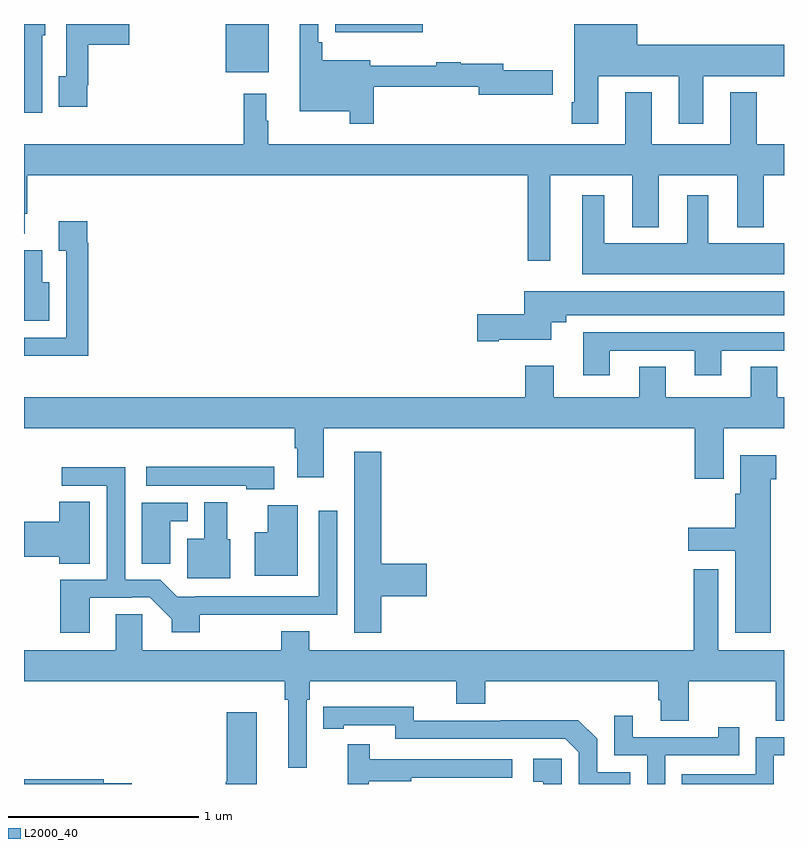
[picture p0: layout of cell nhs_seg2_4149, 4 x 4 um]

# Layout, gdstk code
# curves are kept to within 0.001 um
import gdstk
lib = gdstk.Library(unit=1e-6, precision=1e-09)
def R(c, l, rs):  # rectangles x0, y0, x1, y1
    for r in rs: c.add(gdstk.rectangle(r[:2], r[2:], *l))
def P(c, l, *ps):  # polygons
    for p in ps: c.add(gdstk.Polygon(p, *l))
L2000_40 = (2000, 40)

nhs_seg2_4149 = lib.new_cell('nhs_seg2_4149')
R(nhs_seg2_4149, L2000_40, [(336.062,613.547,336.289,613.8), (336.638,613.757,337.099,613.8)])
P(nhs_seg2_4149, L2000_40, [(335.095,613.74),(335.113,613.74),(335.113,613.8),(335,613.8),(335,613.332),(335.095,613.332)],
  [(335.332,613.477),(335.339,613.477),(335.339,613.691),(335.554,613.691),(335.554,613.8),(335.223,613.8),(335.223,613.526),(335.183,613.526),(335.183,613.365),(335.332,613.365)],
  [(338.023,613.526),(338.447,613.526),(338.447,613.275),(338.575,613.275),(338.575,613.526),(339,613.526),(339,613.69),(338.227,613.69),(338.227,613.8),(337.895,613.8),(337.895,613.387),(337.883,613.387),(337.883,613.275),(338.023,613.275)],
  [(336.842,613.47),(337.394,613.47),(337.394,613.427),(337.783,613.427),(337.783,613.557),(337.522,613.557),(337.522,613.591),(337.298,613.591),(337.298,613.598),(337.169,613.598),(337.169,613.579),(336.823,613.579),(336.823,613.609),(336.569,613.609),(336.569,613.705),(336.549,613.705),(336.549,613.8),(336.452,613.8),(336.452,613.34),(336.714,613.34),(336.714,613.275),(336.842,613.275)],
  [(338.201,612.731),(338.341,612.731),(338.341,613.004),(338.753,613.004),(338.753,612.731),(338.893,612.731),(338.893,613.004),(339,613.004),(339,613.168),(338.857,613.168),(338.857,613.441),(338.717,613.441),(338.717,613.168),(338.305,613.168),(338.305,613.441),(338.165,613.441),(338.165,613.168),(336.286,613.168),(336.286,613.292),(336.274,613.292),(336.274,613.432),(336.157,613.432),(336.157,613.168),(335,613.168),(335,612.695),(335.005,612.695),(335.005,612.802),(335.018,612.802),(335.018,613.004),(337.65,613.004),(337.65,612.555),(337.771,612.555),(337.771,613.004),(338.201,613.004)],
  [(339,612.646),(338.602,612.646),(338.602,612.898),(338.492,612.898),(338.492,612.646),(338.053,612.646),(338.053,612.898),(337.937,612.898),(337.937,612.482),(339,612.482)],
  [(335.339,612.65),(335.332,612.65),(335.332,612.763),(335.183,612.763),(335.183,612.607),(335.223,612.607),(335.223,612.15),(335,612.15),(335,612.054),(335.047,612.054),(335.047,612.053),(335.339,612.053)],
  [(335.134,612.442),(335.095,612.442),(335.095,612.61),(335,612.61),(335,612.239),(335.134,612.239)],
  [(337.498,612.137),(337.774,612.137),(337.774,612.23),(337.855,612.23),(337.855,612.266),(339,612.266),(339,612.394),(337.634,612.394),(337.634,612.272),(337.386,612.272),(337.386,612.13),(337.498,612.13)],
  [(338.083,612.081),(338.531,612.081),(338.531,611.952),(338.671,611.952),(338.671,612.081),(339,612.081),(339,612.177),(337.943,612.177),(337.943,611.952),(338.083,611.952)],
  [(338.683,611.672),(339,611.672),(339,611.836),(338.965,611.836),(338.965,611.996),(338.825,611.996),(338.825,611.836),(338.377,611.836),(338.377,611.996),(338.237,611.996),(338.237,611.836),(337.789,611.836),(337.789,612.001),(337.637,612.001),(337.637,611.836),(335,611.836),(335,611.672),(336.425,611.672),(336.425,611.566),(336.437,611.566),(336.437,611.415),(336.577,611.415),(336.577,611.672),(338.531,611.672),(338.531,611.406),(338.683,611.406)],
  [(336.881,610.787),(337.12,610.787),(337.12,610.958),(336.881,610.958),(336.881,611.548),(336.737,611.548),(336.737,610.596),(336.881,610.596)],
  [(338.929,611.405),(338.959,611.405),(338.959,611.53),(338.771,611.53),(338.771,611.328),(338.744,611.328),(338.744,611.149),(338.496,611.149),(338.496,611.027),(338.744,611.027),(338.744,610.595),(338.929,610.595)],
  [(336.316,611.47),(335.643,611.47),(335.643,611.369),(336.171,611.369),(336.171,611.351),(336.316,611.351)],
  [(335.347,610.779),(335.567,610.779),(335.567,610.782),(335.661,610.782),(335.777,610.666),(335.777,610.598),(335.925,610.598),(335.925,610.691),(336.648,610.692),(336.648,611.239),(336.552,611.239),(336.552,610.788),(335.902,610.788),(335.902,610.785),(335.806,610.785),(335.716,610.875),(335.532,610.875),(335.532,611.468),(335.199,611.468),(335.199,611.37),(335.436,611.37),(335.436,610.875),(335.192,610.875),(335.192,610.596),(335.347,610.596)],
  [(335.347,611.285),(335.186,611.285),(335.186,611.18),(335,611.18),(335,610.997),(335.186,610.997),(335.186,610.96),(335.347,610.96)],
  [(336.085,611.088),(336.07,611.088),(336.07,611.284),(335.948,611.284),(335.948,611.092),(335.858,611.092),(335.858,610.883),(336.085,610.883)],
  [(335.77,611.184),(335.863,611.184),(335.863,611.28),(335.621,611.28),(335.621,610.96),(335.77,610.96)],
  [(336.442,611.266),(336.284,611.266),(336.284,611.125),(336.215,611.125),(336.215,610.895),(336.442,610.895)],
  [(335.483,610.694),(335.483,610.504),(335,610.504),(335,610.34),(336.373,610.34),(336.373,610.244),(336.392,610.244),(336.392,609.885),(336.489,609.885),(336.489,610.244),(336.503,610.244),(336.503,610.34),(337.274,610.34),(337.274,610.223),(337.427,610.223),(337.427,610.34),(338.339,610.34),(338.339,610.242),(338.351,610.242),(338.351,610.132),(338.499,610.132),(338.499,610.34),(338.956,610.34),(338.956,610.132),(339,610.132),(339,610.504),(338.653,610.504),(338.653,610.93),(338.525,610.93),(338.525,610.504),(336.502,610.504),(336.502,610.603),(336.355,610.603),(336.355,610.504),(335.622,610.504),(335.622,610.694)],
  [(338.19,609.861),(338.016,609.861),(338.016,610.038),(337.918,610.136),(337.51,610.136),(337.51,610.134),(337.05,610.134),(337.05,610.207),(336.574,610.206),(336.574,610.09),(336.682,610.09),(336.682,610.11),(336.954,610.11),(336.954,610.038),(337.848,610.038),(337.92,609.966),(337.92,609.8),(338.19,609.8)],
  [(336.226,610.177),(336.068,610.177),(336.068,609.813),(336.062,609.813),(336.062,609.8),(336.226,609.8)],
  [(338.376,609.951),(338.765,609.951),(338.765,610.099),(338.654,610.099),(338.654,610.047),(338.203,610.047),(338.203,610.159),(338.106,610.159),(338.106,609.951),(338.28,609.951),(338.28,609.8),(338.376,609.8)],
  [(338.946,609.951),(339,609.951),(339,610.047),(338.85,610.047),(338.85,609.852),(338.461,609.852),(338.461,609.8),(338.946,609.8)],
  [(336.814,609.814),(337.037,609.814),(337.037,609.834),(337.57,609.834),(337.57,609.93),(336.821,609.93),(336.821,610.009),(336.704,610.009),(336.704,609.8),(336.814,609.8)],
  [(337.83,609.934),(337.68,609.934),(337.68,609.813),(337.733,609.813),(337.733,609.8),(337.83,609.8)],
  [(335.567,609.804),(335.42,609.804),(335.42,609.824),(335,609.824),(335,609.8),(335.567,609.8)])

lib.write_gds('nhs_seg2_4149.gds')
